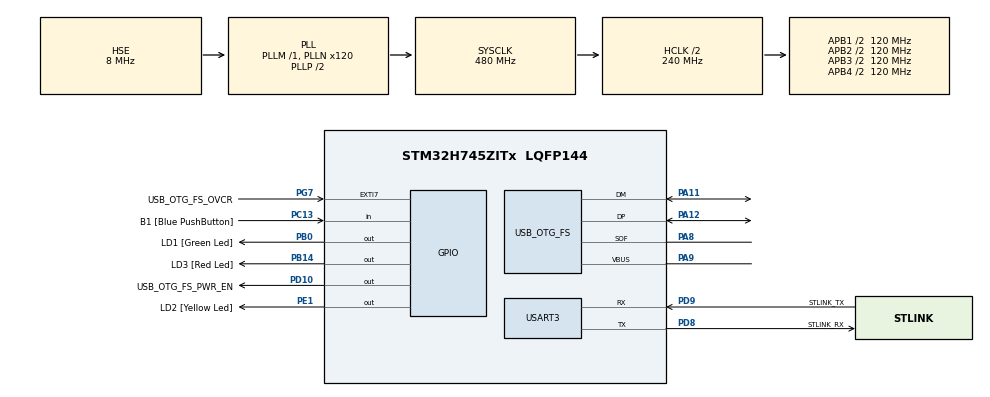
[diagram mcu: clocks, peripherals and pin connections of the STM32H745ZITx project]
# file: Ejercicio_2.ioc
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CortexM4.IPs=FATFS_M4\:I,FREERTOS_M4\:I,IWDG2\:I,RCC,WWDG2\:I,DMA,BDMA,MDMA,NVIC2\:I,DEBUG,USB_DEVICE_M4\:I,USB_HOST_M4\:I,PDM2PCM_M4\:I,PWR,RESMGR_UTILITY,SYS_M4\:I,CORTEX_M4\:I,OPENAMP_M4\:I,VREFBUF,GPIO
CortexM7.IPs=FATFS_M7\:I,FREERTOS_M7\:I,IWDG1\:I,RCC\:I,WWDG1\:I,DMA\:I,BDMA\:I,MDMA\:I,NVIC1\:I,SYS\:I,USART3\:I,USB_OTG_FS\:I,CORTEX_M7\:I,DEBUG\:I,USB_DEVICE_M7\:I,USB_HOST_M7\:I,PDM2PCM_M7\:I,PWR\:I,RESMGR_UTILITY\:I,OPENAMP_M7\:I,VREFBUF\:I,GPIO\:I,TIM2\:I
CortexM7.Pins=PB0,PB14,PE1
Mcu.Family=STM32H7
Mcu.Name=STM32H745ZITx
Mcu.Package=LQFP144
NVIC1.PriorityGroup=NVIC_PRIORITYGROUP_4
NVIC1.TIM2_IRQn=true\:0\:0\:false\:false\:true\:true\:true\:true
NVIC2.PriorityGroup=NVIC_PRIORITYGROUP_4
PA1.PinAttribute=CortexM7
PA1.Signal=ETH_REF_CLK
PA11.Mode=Device_Only
PA11.PinAttribute=CortexM7
PA11.Signal=USB_OTG_FS_DM
PA12.Mode=Device_Only
PA12.PinAttribute=CortexM7
PA12.Signal=USB_OTG_FS_DP
PA2.PinAttribute=CortexM7
PA2.Signal=ETH_MDIO
PA7.PinAttribute=CortexM7
PA7.Signal=ETH_CRS_DV
PA8.Mode=Activate_SOF_FS
PA8.PinAttribute=CortexM7
PA8.Signal=USB_OTG_FS_SOF
PA9.Mode=Activate_VBUS
PA9.PinAttribute=CortexM7
PA9.Signal=USB_OTG_FS_VBUS
PB0.GPIO_Label=LD1 [Green Led]
PB0.GPIO_PuPd=GPIO_PULLDOWN
PB0.GPIO_Speed=GPIO_SPEED_FREQ_HIGH
PB0.PinAttribute=CortexM7
PB0.Signal=GPIO_Output
PB13.PinAttribute=CortexM7
PB13.Signal=ETH_TXD1
PB14.GPIO_Label=LD3 [Red Led]
PB14.GPIO_PuPd=GPIO_PULLDOWN
PB14.GPIO_Speed=GPIO_SPEED_FREQ_HIGH
PB14.PinAttribute=CortexM7
PB14.PinState=GPIO_PIN_RESET
PB14.Signal=GPIO_Output
PC1.PinAttribute=CortexM7
PC1.Signal=ETH_MDC
PC13.GPIO_Label=B1 [Blue PushButton]
PC13.PinAttribute=Free
PC13.Signal=GPIO_Input
PC14-OSC32_IN\ (OSC32_IN).Mode=LSE-External-Oscillator
PC14-OSC32_IN\ (OSC32_IN).PinAttribute=CortexM7
PC14-OSC32_IN\ (OSC32_IN).Signal=RCC_OSC32_IN
PC15-OSC32_OUT\ (OSC32_OUT).Mode=LSE-External-Oscillator
PC15-OSC32_OUT\ (OSC32_OUT).PinAttribute=CortexM7
PC15-OSC32_OUT\ (OSC32_OUT).Signal=RCC_OSC32_OUT
PC4.PinAttribute=CortexM7
PC4.Signal=ETH_RXD0
PC5.PinAttribute=CortexM7
PC5.Signal=ETH_RXD1
PD10.GPIO_Label=USB_OTG_FS_PWR_EN
PD10.PinAttribute=Free
PD10.Signal=GPIO_Output
PD8.GPIO_Label=STLINK_RX
PD8.Mode=Asynchronous
PD8.PinAttribute=CortexM7
PD8.Signal=USART3_TX
PD9.GPIO_Label=STLINK_TX
PD9.Mode=Asynchronous
PD9.PinAttribute=CortexM7
PD9.Signal=USART3_RX
PE1.GPIO_Label=LD2 [Yellow Led]
PE1.GPIO_PuPd=GPIO_PULLDOWN
PE1.GPIO_Speed=GPIO_SPEED_FREQ_HIGH
PE1.PinAttribute=CortexM7
PE1.Signal=GPIO_Output
PG11.PinAttribute=CortexM7
PG11.Signal=ETH_TX_EN
PG13.PinAttribute=CortexM7
PG13.Signal=ETH_TXD0
PG7.GPIO_Label=USB_OTG_FS_OVCR
PG7.PinAttribute=Free
PG7.Signal=GPXTI7
PH0-OSC_IN\ (PH0).Mode=HSE-External-Clock-Source
PH0-OSC_IN\ (PH0).PinAttribute=CortexM7
PH0-OSC_IN\ (PH0).Signal=RCC_OSC_IN
PH1-OSC_OUT\ (PH1).PinAttribute=CortexM7
PH1-OSC_OUT\ (PH1).Signal=RCC_OSC_OUT
ProjectManager.HeapSize=M4-0x200,M7-0x200
ProjectManager.StackSize=M4-0x400,M7-0x400
ProjectManager.TargetToolchain=STM32CubeIDE
RCC.ADCFreq_Value=16125000
RCC.APB1Freq_Value=120000000
RCC.APB2Freq_Value=120000000
RCC.APB3Freq_Value=120000000
RCC.APB4Freq_Value=120000000
RCC.CortexFreq_Value=480000000
RCC.D1PPRE=RCC_APB3_DIV2
RCC.D2PPRE1=RCC_APB1_DIV2
RCC.D2PPRE2=RCC_APB2_DIV2
RCC.D3PPRE=RCC_APB4_DIV2
RCC.DIVM1=1
RCC.DIVM3=1
RCC.DIVN1=120
RCC.DIVN3=24
RCC.DIVQ3=4
RCC.HCLKFreq_Value=240000000
RCC.HPRE=RCC_HCLK_DIV2
RCC.HSE_VALUE=8000000
RCC.PLL2FRACN=0
RCC.PLL3FRACN=0
RCC.PLLFRACN=0
RCC.SYSCLKFreq_VALUE=480000000
RCC.SYSCLKSource=RCC_SYSCLKSOURCE_PLLCLK
RCC.SupplySource=PWR_DIRECT_SMPS_SUPPLY
RCC.USBCLockSelection=RCC_USBCLKSOURCE_PLL3
RCC.USBFreq_Value=48000000
TIM2.Period=5000
TIM2.Prescaler=48000
USART3.VirtualMode-Asynchronous=VM_ASYNC
USB_OTG_FS.VirtualMode=Device_Only
VP_SYS_M4_VS_Systick.Mode=SysTick
VP_TIM2_VS_ClockSourceINT.Mode=Internal
board=NUCLEO-H745ZI-Q

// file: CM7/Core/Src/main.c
/* USER CODE BEGIN Header */
/**
  ******************************************************************************
  * @file           : main.c
  * @brief          : Main program body
  ******************************************************************************
  * @attention
  *
  * Copyright (c) 2022 STMicroelectronics.
  * All rights reserved.
  *
  * This software is licensed under terms that can be found in the LICENSE file
  * in the root directory of this software component.
  * If no LICENSE file comes with this software, it is provided AS-IS.
  *
  ******************************************************************************
  */
/* USER CODE END Header */
#include "main.h"

/* USER CODE BEGIN PD */

#ifndef HSEM_ID_0
#define HSEM_ID_0 (0U) /* HW semaphore 0*/
#endif
/* USER CODE END PD */

TIM_HandleTypeDef htim2;

UART_HandleTypeDef huart3;

PCD_HandleTypeDef hpcd_USB_OTG_FS;

/* USER CODE BEGIN PV */
static uint8_t state = -1;
/* USER CODE END PV */

void SystemClock_Config(void);
static void MX_GPIO_Init(void);
static void MX_USART3_UART_Init(void);
static void MX_USB_OTG_FS_PCD_Init(void);
static void MX_TIM2_Init(void);

int main(void)
{
/* USER CODE BEGIN Boot_Mode_Sequence_0 */
  int32_t timeout;
/* USER CODE END Boot_Mode_Sequence_0 */

/* USER CODE BEGIN Boot_Mode_Sequence_1 */
  /* Wait until CPU2 boots and enters in stop mode or timeout*/
  timeout = 0xFFFF;
  while((__HAL_RCC_GET_FLAG(RCC_FLAG_D2CKRDY) != RESET) && (timeout-- > 0));
  if ( timeout < 0 )
  {
  Error_Handler();
  }
/* USER CODE END Boot_Mode_Sequence_1 */
  /* MCU Configuration--------------------------------------------------------*/

  /* Reset of all peripherals, Initializes the Flash interface and the Systick. */
  HAL_Init();

  /* Configure the system clock */
  SystemClock_Config();
/* USER CODE BEGIN Boot_Mode_Sequence_2 */
/* When system initialization is finished, Cortex-M7 will release Cortex-M4 by means of
HSEM notification */
/*HW semaphore Clock enable*/
__HAL_RCC_HSEM_CLK_ENABLE();
/*Take HSEM */
HAL_HSEM_FastTake(HSEM_ID_0);
/*Release HSEM in order to notify the CPU2(CM4)*/
HAL_HSEM_Release(HSEM_ID_0,0);
/* wait until CPU2 wakes up from stop mode */
timeout = 0xFFFF;
while((__HAL_RCC_GET_FLAG(RCC_FLAG_D2CKRDY) == RESET) && (timeout-- > 0));
if ( timeout < 0 )
{
Error_Handler();
}
/* USER CODE END Boot_Mode_Sequence_2 */

  /* Initialize all configured peripherals */
  MX_GPIO_Init();
  MX_USART3_UART_Init();
  MX_USB_OTG_FS_PCD_Init();
  MX_TIM2_Init();
  /* USER CODE BEGIN 2 */
  HAL_TIM_Base_Start_IT(&htim2);

  /* USER CODE END 2 */

  /* Infinite loop */
  while (1)
  {

    /* USER CODE BEGIN 3 */
	  if(state == 0){
		  HAL_GPIO_WritePin(GPIOB, GPIO_PIN_0, RESET);
		  HAL_GPIO_WritePin(GPIOE, GPIO_PIN_1, RESET);
		  HAL_GPIO_WritePin(GPIOB, GPIO_PIN_14, RESET);
	  } else if(state == 1){
		  HAL_GPIO_WritePin(GPIOB, GPIO_PIN_0, SET);
		  HAL_GPIO_WritePin(GPIOE, GPIO_PIN_1, RESET);
		  HAL_GPIO_WritePin(GPIOB, GPIO_PIN_14, RESET);
	  } else if(state == 2){
		  HAL_GPIO_WritePin(GPIOB, GPIO_PIN_0, RESET);
		  HAL_GPIO_WritePin(GPIOE, GPIO_PIN_1, SET);
		  HAL_GPIO_WritePin(GPIOB, GPIO_PIN_14, RESET);
	  } else if(state == 3){
		  HAL_GPIO_WritePin(GPIOB, GPIO_PIN_0, SET);
		  HAL_GPIO_WritePin(GPIOE, GPIO_PIN_1, SET);
		  HAL_GPIO_WritePin(GPIOB, GPIO_PIN_14, RESET);
	  } else if (state == 4){
		  HAL_GPIO_WritePin(GPIOB, GPIO_PIN_0, RESET);
		  HAL_GPIO_WritePin(GPIOE, GPIO_PIN_1, RESET);
		  HAL_GPIO_WritePin(GPIOB, GPIO_PIN_14, SET);
	  } else if(state == 5){
		  HAL_GPIO_WritePin(GPIOB, GPIO_PIN_0, SET);
		  HAL_GPIO_WritePin(GPIOE, GPIO_PIN_1, RESET);
		  HAL_GPIO_WritePin(GPIOB, GPIO_PIN_14, SET);
	  } else if(state == 6){
		  HAL_GPIO_WritePin(GPIOB, GPIO_PIN_0, RESET);
		  HAL_GPIO_WritePin(GPIOE, GPIO_PIN_1, SET);
		  HAL_GPIO_WritePin(GPIOB, GPIO_PIN_14, SET);
	  } else if(state == 7){
		  HAL_GPIO_WritePin(GPIOB, GPIO_PIN_0, SET);
		  HAL_GPIO_WritePin(GPIOE, GPIO_PIN_1, SET);
		  HAL_GPIO_WritePin(GPIOB, GPIO_PIN_14, SET);
	  } else{
		  state = 0;
	  }
  }
  /* USER CODE END 3 */
}

void SystemClock_Config(void)
{
  RCC_OscInitTypeDef RCC_OscInitStruct = {0};
  RCC_ClkInitTypeDef RCC_ClkInitStruct = {0};

  /** Supply configuration update enable
  */
  HAL_PWREx_ConfigSupply(PWR_DIRECT_SMPS_SUPPLY);

  /** Configure the main internal regulator output voltage
  */
  __HAL_PWR_VOLTAGESCALING_CONFIG(PWR_REGULATOR_VOLTAGE_SCALE0);

  while(!__HAL_PWR_GET_FLAG(PWR_FLAG_VOSRDY)) {}

  /** Macro to configure the PLL clock source
  */
  __HAL_RCC_PLL_PLLSOURCE_CONFIG(RCC_PLLSOURCE_HSE);

  /** Initializes the RCC Oscillators according to the specified parameters
  * in the RCC_OscInitTypeDef structure.
  */
  RCC_OscInitStruct.OscillatorType = RCC_OSCILLATORTYPE_HSE;
  RCC_OscInitStruct.HSEState = RCC_HSE_BYPASS;
  RCC_OscInitStruct.PLL.PLLState = RCC_PLL_ON;
  RCC_OscInitStruct.PLL.PLLSource = RCC_PLLSOURCE_HSE;
  RCC_OscInitStruct.PLL.PLLM = 1;
  RCC_OscInitStruct.PLL.PLLN = 120;
  RCC_OscInitStruct.PLL.PLLP = 2;
  RCC_OscInitStruct.PLL.PLLQ = 2;
  RCC_OscInitStruct.PLL.PLLR = 2;
  RCC_OscInitStruct.PLL.PLLRGE = RCC_PLL1VCIRANGE_3;
  RCC_OscInitStruct.PLL.PLLVCOSEL = RCC_PLL1VCOWIDE;
  RCC_OscInitStruct.PLL.PLLFRACN = 0;
  if (HAL_RCC_OscConfig(&RCC_OscInitStruct) != HAL_OK)
  {
    Error_Handler();
  }

  /** Initializes the CPU, AHB and APB buses clocks
  */
  RCC_ClkInitStruct.ClockType = RCC_CLOCKTYPE_HCLK|RCC_CLOCKTYPE_SYSCLK
                              |RCC_CLOCKTYPE_PCLK1|RCC_CLOCKTYPE_PCLK2
                              |RCC_CLOCKTYPE_D3PCLK1|RCC_CLOCKTYPE_D1PCLK1;
  RCC_ClkInitStruct.SYSCLKSource = RCC_SYSCLKSOURCE_PLLCLK;
  RCC_ClkInitStruct.SYSCLKDivider = RCC_SYSCLK_DIV1;
  RCC_ClkInitStruct.AHBCLKDivider = RCC_HCLK_DIV2;
  RCC_ClkInitStruct.APB3CLKDivider = RCC_APB3_DIV2;
  RCC_ClkInitStruct.APB1CLKDivider = RCC_APB1_DIV2;
  RCC_ClkInitStruct.APB2CLKDivider = RCC_APB2_DIV2;
  RCC_ClkInitStruct.APB4CLKDivider = RCC_APB4_DIV2;

  if (HAL_RCC_ClockConfig(&RCC_ClkInitStruct, FLASH_LATENCY_4) != HAL_OK)
  {
    Error_Handler();
  }
}

static void MX_TIM2_Init(void)
{

  TIM_ClockConfigTypeDef sClockSourceConfig = {0};
  TIM_MasterConfigTypeDef sMasterConfig = {0};

  htim2.Instance = TIM2;
  htim2.Init.Prescaler = 48000;
  htim2.Init.CounterMode = TIM_COUNTERMODE_UP;
  htim2.Init.Period = 5000;
  htim2.Init.ClockDivision = TIM_CLOCKDIVISION_DIV1;
  htim2.Init.AutoReloadPreload = TIM_AUTORELOAD_PRELOAD_DISABLE;
  if (HAL_TIM_Base_Init(&htim2) != HAL_OK)
  {
    Error_Handler();
  }
  sClockSourceConfig.ClockSource = TIM_CLOCKSOURCE_INTERNAL;
  if (HAL_TIM_ConfigClockSource(&htim2, &sClockSourceConfig) != HAL_OK)
  {
    Error_Handler();
  }
  sMasterConfig.MasterOutputTrigger = TIM_TRGO_RESET;
  sMasterConfig.MasterSlaveMode = TIM_MASTERSLAVEMODE_DISABLE;
  if (HAL_TIMEx_MasterConfigSynchronization(&htim2, &sMasterConfig) != HAL_OK)
  {
    Error_Handler();
  }

}

static void MX_USART3_UART_Init(void)
{

  huart3.Instance = USART3;
  huart3.Init.BaudRate = 115200;
  huart3.Init.WordLength = UART_WORDLENGTH_8B;
  huart3.Init.StopBits = UART_STOPBITS_1;
  huart3.Init.Parity = UART_PARITY_NONE;
  huart3.Init.Mode = UART_MODE_TX_RX;
  huart3.Init.HwFlowCtl = UART_HWCONTROL_NONE;
  huart3.Init.OverSampling = UART_OVERSAMPLING_16;
  huart3.Init.OneBitSampling = UART_ONE_BIT_SAMPLE_DISABLE;
  huart3.Init.ClockPrescaler = UART_PRESCALER_DIV1;
  huart3.AdvancedInit.AdvFeatureInit = UART_ADVFEATURE_NO_INIT;
  if (HAL_UART_Init(&huart3) != HAL_OK)
  {
    Error_Handler();
  }
  if (HAL_UARTEx_SetTxFifoThreshold(&huart3, UART_TXFIFO_THRESHOLD_1_8) != HAL_OK)
  {
    Error_Handler();
  }
  if (HAL_UARTEx_SetRxFifoThreshold(&huart3, UART_RXFIFO_THRESHOLD_1_8) != HAL_OK)
  {
    Error_Handler();
  }
  if (HAL_UARTEx_DisableFifoMode(&huart3) != HAL_OK)
  {
    Error_Handler();
  }

}

static void MX_USB_OTG_FS_PCD_Init(void)
{

  hpcd_USB_OTG_FS.Instance = USB_OTG_FS;
  hpcd_USB_OTG_FS.Init.dev_endpoints = 9;
  hpcd_USB_OTG_FS.Init.speed = PCD_SPEED_FULL;
  hpcd_USB_OTG_FS.Init.dma_enable = DISABLE;
  hpcd_USB_OTG_FS.Init.phy_itface = PCD_PHY_EMBEDDED;
  hpcd_USB_OTG_FS.Init.Sof_enable = DISABLE;
  hpcd_USB_OTG_FS.Init.low_power_enable = DISABLE;
  hpcd_USB_OTG_FS.Init.lpm_enable = DISABLE;
  hpcd_USB_OTG_FS.Init.battery_charging_enable = ENABLE;
  hpcd_USB_OTG_FS.Init.vbus_sensing_enable = ENABLE;
  hpcd_USB_OTG_FS.Init.use_dedicated_ep1 = DISABLE;
  if (HAL_PCD_Init(&hpcd_USB_OTG_FS) != HAL_OK)
  {
    Error_Handler();
  }

}

static void MX_GPIO_Init(void)
{
  GPIO_InitTypeDef GPIO_InitStruct = {0};

  /* GPIO Ports Clock Enable */
  __HAL_RCC_GPIOC_CLK_ENABLE();
  __HAL_RCC_GPIOH_CLK_ENABLE();
  __HAL_RCC_GPIOB_CLK_ENABLE();
  __HAL_RCC_GPIOD_CLK_ENABLE();
  __HAL_RCC_GPIOA_CLK_ENABLE();
  __HAL_RCC_GPIOE_CLK_ENABLE();

  /*Configure GPIO pin Output Level */
  HAL_GPIO_WritePin(GPIOB, LD1_Pin|LD3_Pin, GPIO_PIN_RESET);

  /*Configure GPIO pin Output Level */
  HAL_GPIO_WritePin(LD2_GPIO_Port, LD2_Pin, GPIO_PIN_RESET);

  /*Configure GPIO pins : LD1_Pin LD3_Pin */
  GPIO_InitStruct.Pin = LD1_Pin|LD3_Pin;
  GPIO_InitStruct.Mode = GPIO_MODE_OUTPUT_PP;
  GPIO_InitStruct.Pull = GPIO_PULLDOWN;
  GPIO_InitStruct.Speed = GPIO_SPEED_FREQ_HIGH;
  HAL_GPIO_Init(GPIOB, &GPIO_InitStruct);

  /*Configure GPIO pin : LD2_Pin */
  GPIO_InitStruct.Pin = LD2_Pin;
  GPIO_InitStruct.Mode = GPIO_MODE_OUTPUT_PP;
  GPIO_InitStruct.Pull = GPIO_PULLDOWN;
  GPIO_InitStruct.Speed = GPIO_SPEED_FREQ_HIGH;
  HAL_GPIO_Init(LD2_GPIO_Port, &GPIO_InitStruct);

}

/* USER CODE BEGIN 4 */
void HAL_TIM_PeriodElapsedCallback(TIM_HandleTypeDef *htim){
	if (htim == &htim2)
	{
		state++;
	}
}

/* USER CODE END 4 */

void Error_Handler(void)
{
  __disable_irq();
  while (1)
  {
  }
}
